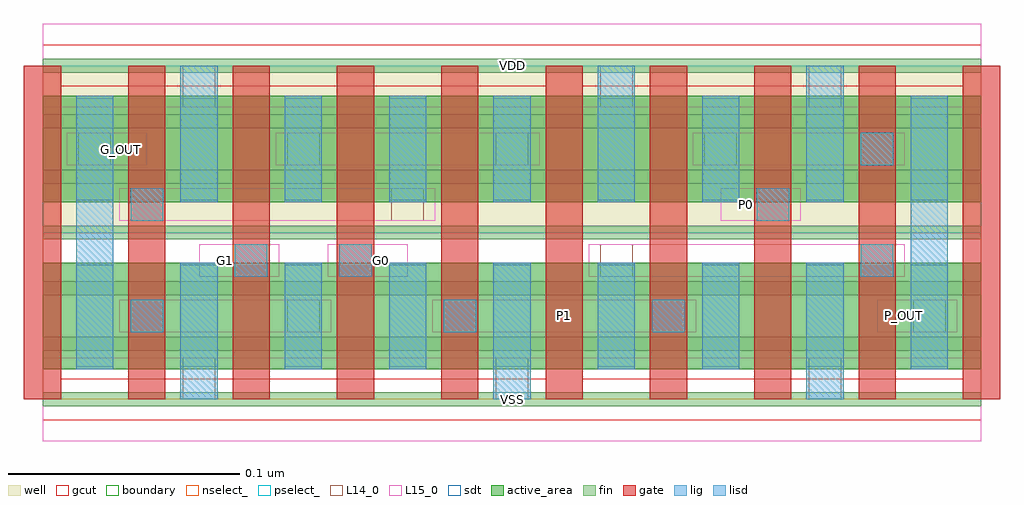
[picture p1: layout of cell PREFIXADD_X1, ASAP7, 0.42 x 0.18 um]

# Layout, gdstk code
import gdstk
lib = gdstk.Library(unit=1e-6, precision=2.5e-10)
def R(c, l, rs):  # rectangles x0, y0, x1, y1
    for r in rs: c.add(gdstk.rectangle(r[:2], r[2:], *l))
def A(c, l, x, y, w, h, nx, ny, dx, dy):  # array of equal rectangles
    R(c, l, [(x+i*dx, y+j*dy, x+i*dx+w, y+j*dy+h) for i in range(nx) for j in range(ny)])
def P(c, l, *ps):  # polygons
    for p in ps: c.add(gdstk.Polygon(p, *l))
well = (1, 0)
fin = (2, 0)
gate = (7, 0)
gcut = (10, 0)
active_area = (11, 0)
nselect_ = (12, 0)
pselect_ = (13, 0)
L14_0 = (14, 0)
L15_0 = (15, 0)
lig = (16, 0)
lisd = (17, 0)
sdt = (88, 0)
boundary = (100, 0)

prefixadd_x1 = lib.new_cell('PREFIXADD_X1')
R(prefixadd_x1, well, [(0,0.072,0.405,0.144)])
A(prefixadd_x1, fin, 0, -0.003, 0.405, 0.006, 1, 7, 0, 0.024)
A(prefixadd_x1, gate, -0.008, 0, 0.016, 0.144, 10, 1, 0.045, 0)
P(prefixadd_x1, gcut, [(0,-0.009),(0,0),(-0.008,0),(-0.008,0.135),(0.008,0.135),(0.008,0.009),(0.217,0.009),(0.217,0.135),(0.233,0.135),(0.233,0.009),(0.397,0.009),(0.397,0.135),(-0.008,0.135),(-0.008,0.144),(0,0.144),(0,0.153),(0.405,0.153),(0.405,0.144),(0.413,0.144),(0.413,0),(0.405,0),(0.405,-0.009)])
R(prefixadd_x1, active_area, [(0,0.013,0.405,0.059), (0,0.085,0.405,0.131)])
R(prefixadd_x1, nselect_, [(0,0,0.405,0.072)])
R(prefixadd_x1, pselect_, [(0,0.072,0.405,0.144)])
A(prefixadd_x1, L14_0, 0.0605, 0, 0.014, 0.018, 3, 1, 0.135, 0)
A(prefixadd_x1, L14_0, 0.038, 0.029, 0.014, 0.014, 3, 1, 0.0675, 0)
A(prefixadd_x1, L14_0, 0.128, 0.053, 0.014, 0.014, 3, 1, 0.1125, 0)
A(prefixadd_x1, L14_0, 0.0155, 0.101, 0.014, 0.014, 4, 1, 0.09, 0)
R(prefixadd_x1, L14_0, [(0.263,0.029,0.277,0.043), (0.3755,0.029,0.3895,0.043), (0.083,0.053,0.097,0.067), (0.038,0.077,0.052,0.091), (0.1505,0.077,0.1645,0.091), (0.308,0.077,0.322,0.091), (0.353,0.101,0.367,0.115), (0.0605,0.126,0.0745,0.144), (0.2405,0.126,0.2545,0.144), (0.3305,0.126,0.3445,0.144)])
R(prefixadd_x1, L15_0, [(0,-0.018,0.405,0.018), (0.033,0.029,0.1245,0.043), (0.168,0.029,0.282,0.043), (0.36,0.029,0.3945,0.043), (0.0675,0.053,0.102,0.067), (0.123,0.053,0.1575,0.067), (0.2355,0.053,0.372,0.067), (0.033,0.077,0.1695,0.091), (0.2925,0.077,0.327,0.091), (0.0105,0.101,0.045,0.115), (0.1005,0.101,0.2145,0.115), (0.2805,0.101,0.372,0.115), (0,0.126,0.405,0.162)])
R(prefixadd_x1, lig, [(0.038,0.029,0.052,0.043), (0.173,0.029,0.187,0.043), (0.263,0.029,0.277,0.043), (0.083,0.053,0.097,0.067), (0.128,0.053,0.142,0.067), (0.353,0.053,0.367,0.067), (0.038,0.077,0.052,0.091), (0.308,0.077,0.322,0.091), (0.353,0.101,0.367,0.115)])
A(prefixadd_x1, lisd, 0.0595, 0, 0.016, 0.059, 3, 1, 0.135, 0)
A(prefixadd_x1, lisd, 0.1045, 0.085, 0.016, 0.046, 3, 1, 0.045, 0)
R(prefixadd_x1, lisd, [(0.0145,0.013,0.0305,0.131), (0.1045,0.013,0.1205,0.059), (0.1495,0.013,0.1655,0.059), (0.2395,0.013,0.2555,0.059), (0.2845,0.013,0.3005,0.059), (0.3745,0.013,0.3905,0.131), (0.0595,0.085,0.0755,0.144), (0.2395,0.085,0.2555,0.144), (0.2845,0.085,0.3005,0.131), (0.3295,0.085,0.3455,0.144)])
A(prefixadd_x1, sdt, 0.0145, 0.014, 0.016, 0.044, 9, 2, 0.045, 0.072)
R(prefixadd_x1, boundary, [(0,0,0.405,0.144)])
prefixadd_x1.add(gdstk.Label('P_OUT', (0.3713,0.036), layer=15, texttype=251))
prefixadd_x1.add(gdstk.Label('G0', (0.1462,0.06), layer=15, texttype=251))
prefixadd_x1.add(gdstk.Label('P0', (0.3038,0.084), layer=15, texttype=251))
prefixadd_x1.add(gdstk.Label('P1', (0.225,0.036), layer=15, texttype=251))
prefixadd_x1.add(gdstk.Label('G_OUT', (0.0338,0.108), layer=15, texttype=251))
prefixadd_x1.add(gdstk.Label('G1', (0.0788,0.06), layer=15, texttype=251))
prefixadd_x1.add(gdstk.Label('VSS', (0.2025,0), layer=15, texttype=251))
prefixadd_x1.add(gdstk.Label('VDD', (0.2025,0.144), layer=15, texttype=251))
prefixadd_x1.add(gdstk.Label('VSS', (0.2025,0), layer=15, texttype=251))
prefixadd_x1.add(gdstk.Label('VDD', (0.2025,0.144), layer=15, texttype=251))
prefixadd_x1.add(gdstk.Label('VSS', (0.2025,0), layer=15, texttype=251))
prefixadd_x1.add(gdstk.Label('VDD', (0.2025,0.144), layer=15, texttype=251))
prefixadd_x1.add(gdstk.Label('VSS', (0.2025,0), layer=15, texttype=251))
prefixadd_x1.add(gdstk.Label('VDD', (0.2025,0.144), layer=15, texttype=251))
prefixadd_x1.add(gdstk.Label('VSS', (0.2025,0), layer=15, texttype=251))
prefixadd_x1.add(gdstk.Label('VDD', (0.2025,0.144), layer=15, texttype=251))
prefixadd_x1.add(gdstk.Label('VSS', (0.2025,0), layer=15, texttype=251))
prefixadd_x1.add(gdstk.Label('VDD', (0.2025,0.144), layer=15, texttype=251))
prefixadd_x1.add(gdstk.Label('VSS', (0.2025,0), layer=3, texttype=251))
prefixadd_x1.add(gdstk.Label('VSS', (0.2025,0), layer=3, texttype=251))
prefixadd_x1.add(gdstk.Label('VSS', (0.2025,0), layer=3, texttype=251))
prefixadd_x1.add(gdstk.Label('VSS', (0.2025,0), layer=3, texttype=251))
prefixadd_x1.add(gdstk.Label('VSS', (0.2025,0), layer=3, texttype=251))
prefixadd_x1.add(gdstk.Label('VSS', (0.2025,0), layer=3, texttype=251))
prefixadd_x1.add(gdstk.Label('VDD', (0.2025,0.144), layer=1, texttype=251))
prefixadd_x1.add(gdstk.Label('VDD', (0.2025,0.144), layer=1, texttype=251))
prefixadd_x1.add(gdstk.Label('VDD', (0.2025,0.144), layer=1, texttype=251))
prefixadd_x1.add(gdstk.Label('VDD', (0.2025,0.144), layer=1, texttype=251))
prefixadd_x1.add(gdstk.Label('VDD', (0.2025,0.144), layer=1, texttype=251))
prefixadd_x1.add(gdstk.Label('VDD', (0.2025,0.144), layer=1, texttype=251))

lib.write_gds('PREFIXADD_X1.gds')
